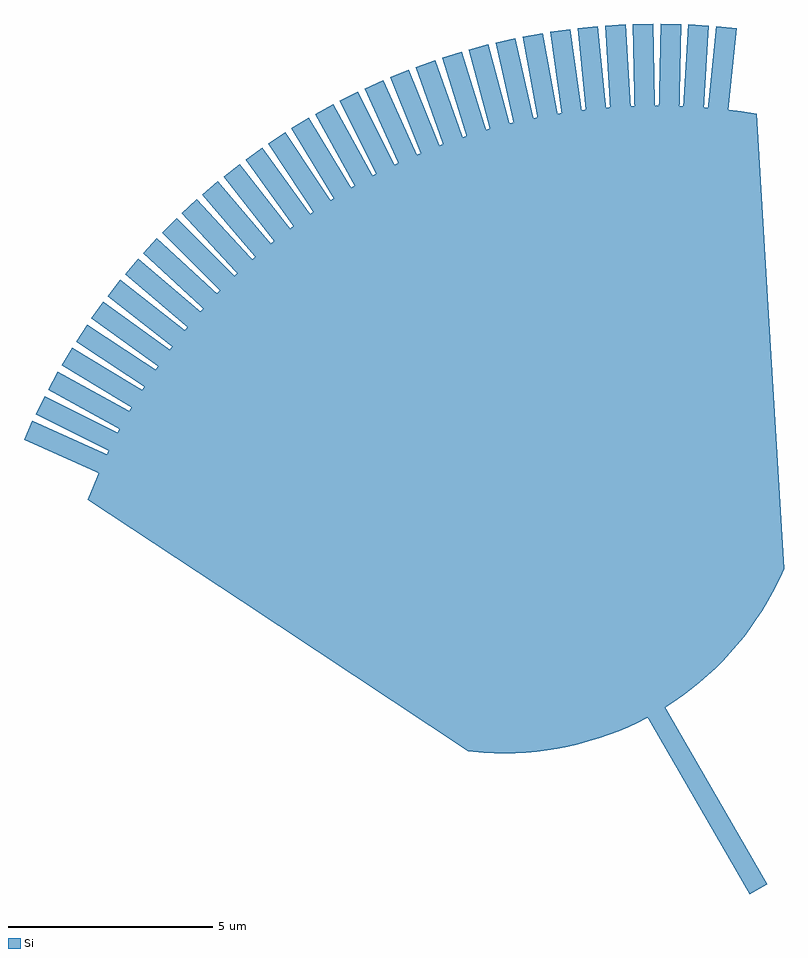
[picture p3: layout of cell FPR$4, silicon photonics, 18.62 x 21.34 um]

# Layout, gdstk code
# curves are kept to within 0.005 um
from math import pi, radians
import gdstk
lib = gdstk.Library(unit=1e-6, precision=1e-09)
def R(c, l, rs):  # rectangles x0, y0, x1, y1
    for r in rs: c.add(gdstk.rectangle(r[:2], r[2:], *l))
def P(c, l, *ps):  # polygons
    for p in ps: c.add(gdstk.Polygon(p, *l))
Si = (1, 0)

taper002_4 = lib.new_cell('taper002$4')
R(taper002_4, Si, [(-2,-0.25,2.5,0.25)])

taper_4 = lib.new_cell('taper$4')
R(taper_4, Si, [(-5,-0.25,2.5,0.25)])

boolean_4 = lib.new_cell('boolean$4')
P(boolean_4, Si, [(4.042,-9.461),(-5.95,-4.465),(-6.168,-4.16),(-6.309,-3.943),(-6.569,-3.493),(-6.797,-3.026),(-6.991,-2.545),(-7.076,-2.299),(-7.219,-1.8),(-7.327,-1.292),(-7.368,-1.035),(-7.422,-0.519),(-7.44,0),(-7.422,0.519),(-7.368,1.035),(-7.327,1.292),(-7.219,1.8),(-7.076,2.299),(-6.991,2.545),(-6.797,3.026),(-6.569,3.493),(-6.309,3.943),(-6.168,4.16),(-5.95,4.465),(4.042,9.461),(4.286,9.161),(4.598,8.746),(4.896,8.321),(5.179,7.885),(5.446,7.44),(5.698,6.986),(5.934,6.523),(6.154,6.052),(6.356,5.574),(6.543,5.089),(6.712,4.598),(6.864,4.101),(6.998,3.6),(7.115,3.094),(7.214,2.584),(7.295,2.071),(7.358,1.555),(7.404,1.038),(7.431,0.519),(7.44,0),(7.431,-0.519),(7.404,-1.038),(7.358,-1.555),(7.295,-2.071),(7.214,-2.584),(7.115,-3.094),(6.998,-3.6),(6.864,-4.101),(6.712,-4.598),(6.543,-5.089),(6.356,-5.574),(6.154,-6.052),(5.934,-6.523),(5.698,-6.986),(5.446,-7.44),(5.179,-7.885),(4.896,-8.321),(4.598,-8.746),(4.286,-9.161)])

fpr_4 = lib.new_cell('FPR$4')
fpr_4.add(gdstk.Reference(taper002_4, (-21.014,-0.346), rotation=radians(335.8123), x_reflection=True))
fpr_4.add(gdstk.Reference(taper002_4, (-20.179,1.247), rotation=radians(328.8809), x_reflection=True))
fpr_4.add(gdstk.Reference(taper002_4, (-19.858,1.754), rotation=radians(326.5704), x_reflection=True))
fpr_4.add(gdstk.Reference(taper002_4, (-11.863,7.764), rotation=radians(287.2924), x_reflection=True))
fpr_4.add(gdstk.Reference(taper_4, (-7.44,-6.443), rotation=radians(120)))
fpr_4.add(gdstk.Reference(taper002_4, (-19.518,2.248), rotation=radians(324.2599), x_reflection=True))
fpr_4.add(gdstk.Reference(taper002_4, (-20.757,0.196), rotation=radians(333.5018), x_reflection=True))
fpr_4.add(gdstk.Reference(boolean_4, (-11.16,0), rotation=radians(120)))
fpr_4.add(gdstk.Reference(taper002_4, (-18.381,3.642), rotation=radians(317.3285), x_reflection=True))
fpr_4.add(gdstk.Reference(taper002_4, (-10.116,8.194), rotation=radians(280.361), x_reflection=True))
fpr_4.add(gdstk.Reference(taper002_4, (-9.524,8.29), rotation=radians(278.0505), x_reflection=True))
fpr_4.add(gdstk.Reference(taper002_4, (-8.33,8.41), rotation=radians(273.4296), x_reflection=True))
fpr_4.add(gdstk.Reference(taper002_4, (-14.087,6.869), rotation=radians(296.5343), x_reflection=True))
fpr_4.add(gdstk.Reference(taper002_4, (-10.704,8.074), rotation=radians(282.6715), x_reflection=True))
fpr_4.add(gdstk.Reference(taper002_4, (-12.432,7.574), rotation=radians(289.6029), x_reflection=True))
fpr_4.add(gdstk.Reference(taper002_4, (-20.478,0.727), rotation=radians(331.1913), x_reflection=True))
fpr_4.add(gdstk.Reference(taper002_4, (-13.545,7.127), rotation=radians(294.2238), x_reflection=True))
fpr_4.add(gdstk.Reference(taper002_4, (-15.138,6.291), rotation=radians(301.1552), x_reflection=True))
fpr_4.add(gdstk.Reference(taper002_4, (-17.083,4.889), rotation=radians(310.3971), x_reflection=True))
fpr_4.add(gdstk.Reference(taper002_4, (-11.287,7.931), rotation=radians(284.9819), x_reflection=True))
fpr_4.add(gdstk.Reference(taper002_4, (-7.731,8.434), rotation=radians(271.1191), x_reflection=True))
fpr_4.add(gdstk.Reference(taper002_4, (-6.531,8.409), rotation=radians(266.4982), x_reflection=True))
fpr_4.add(gdstk.Reference(taper002_4, (-7.131,8.434), rotation=radians(268.8087), x_reflection=True))
fpr_4.add(gdstk.Reference(taper002_4, (-5.933,8.36), rotation=radians(264.1877), x_reflection=True))
fpr_4.add(gdstk.Reference(taper002_4, (-8.928,8.362), rotation=radians(275.7401), x_reflection=True))
fpr_4.add(gdstk.Reference(taper002_4, (-12.993,7.362), rotation=radians(291.9134), x_reflection=True))
fpr_4.add(gdstk.Reference(taper002_4, (-14.619,6.591), rotation=radians(298.8448), x_reflection=True))
fpr_4.add(gdstk.Reference(taper002_4, (-15.645,5.97), rotation=radians(303.4657), x_reflection=True))
fpr_4.add(gdstk.Reference(taper002_4, (-16.139,5.629), rotation=radians(305.7762), x_reflection=True))
fpr_4.add(gdstk.Reference(taper002_4, (-17.532,4.491), rotation=radians(312.7076), x_reflection=True))
fpr_4.add(gdstk.Reference(taper002_4, (-16.619,5.269), rotation=radians(308.0866), x_reflection=True))
fpr_4.add(gdstk.Reference(taper002_4, (-17.965,4.075), rotation=radians(315.0181), x_reflection=True))
fpr_4.add(gdstk.Reference(taper002_4, (-18.778,3.193), rotation=radians(319.639), x_reflection=True))
fpr_4.add(gdstk.Reference(taper002_4, (-19.158,2.728), rotation=radians(321.9495), x_reflection=True))

lib.write_gds('FPR_4.gds')
